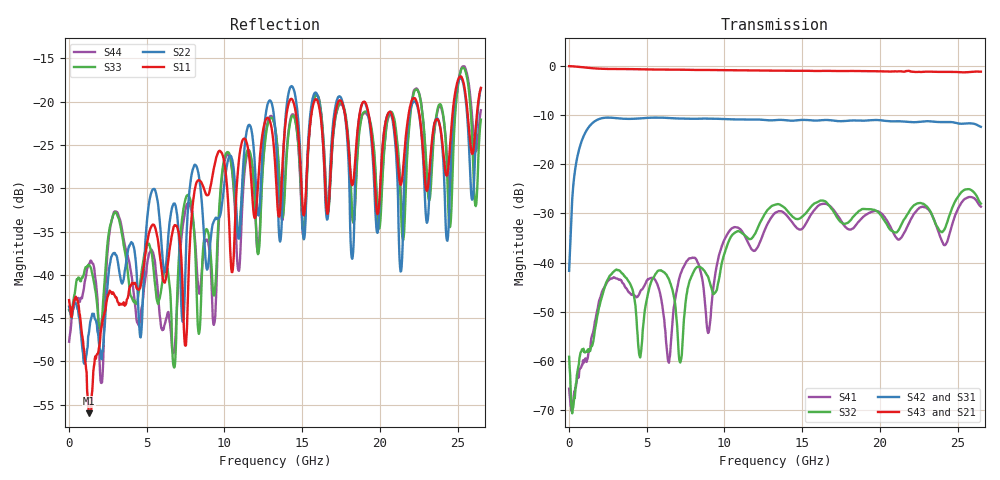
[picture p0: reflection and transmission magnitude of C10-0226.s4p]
! MARKI MICROWAVE INC.
! Email:  info@markimicrowave.com  Phone:  408-778-4200
! Model Number:  C10-0226  Date:  10/12
! Filename:		C10-0226.S4P  Version: 1.0
! Description:  4-port S-parameter data for Directional Coupler C10-0226
! Frequency Range: 	10 MHz to 26.5 GHz
! Port Configuration:	PORT 1: Input
!  PORT 2: Output
!  Port 3: Coupled
!  Port 4: Isolated
! S4P File: Measurements: Mag<S11> Ang<S11> Mag<S12> Ang<S12> Mag<S13> Ang<S13> Mag<S14> Ang<S14>! row 1
!  Mag<S21> Ang<S21> Mag<S22> Ang<S22> Mag<S23> Ang<S23> Mag<S24> Ang<S24>! row 2
!  Mag<S31> Ang<S31> Mag<S32> Ang<S32> Mag<S33> Ang<S33> Mag<S34> Ang<S34>! row 3
!  Mag<S41> Ang<S41> Mag<S42> Ang<S42> Mag<S43> Ang<S43> Mag<S44> Ang<S44>! row 4
# Hz S  dB  R 50
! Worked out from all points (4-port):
!   801 points, 10 MHz to 26.5 GHz, reference 50 ohm
!   strongest paths, dB at 10 MHz, 6.633 GHz, 13.26 GHz, 19.88 GHz, 26.5 GHz:
!     S43: 0.0, -0.7, -0.9, -1.1, -1.2
!     S21: 0.0, -0.8, -1.1, -1.1, -1.2
!     S42: -41.7, -10.6, -11.0, -11.0, -12.4
!     S31: -42.2, -10.7, -11.2, -11.0, -12.4
!     S32: -59.2, -45.3, -28.2, -29.7, -28.0
!     S41: -65.7, -53.3, -29.9, -29.6, -28.6
!   lowest |S11| = -56.0 dB at 1.301 GHz (marker M1), VSWR 1.00, Z = 50.1 - j0.113 ohm
!   |S11| at or under -10 dB: start of sweep to end of sweep
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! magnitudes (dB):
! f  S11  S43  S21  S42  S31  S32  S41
! 10 MHz  -42.9  0.0  0.0  -41.7  -42.2  -59.2  -65.7
! 1.301 GHz  -56.0  -0.4  -0.4  -12.3  -12.3  -57.7  -58.2
! 9.646 GHz  -25.7  -0.8  -1.0  -10.8  -10.9  -43.5  -38.6
! 17.43 GHz  -19.8  -1.0  -1.1  -11.2  -11.2  -31.6  -31.1
! 21.33 GHz  -29.6  -1.1  -1.1  -11.3  -11.3  -32.6  -35.1
! 22.1 GHz  -19.7  -1.2  -1.2  -11.4  -11.5  -28.7  -30.6
! 26.5 GHz  -18.4  -1.2  -1.2  -12.4  -12.4  -28.0  -28.6
